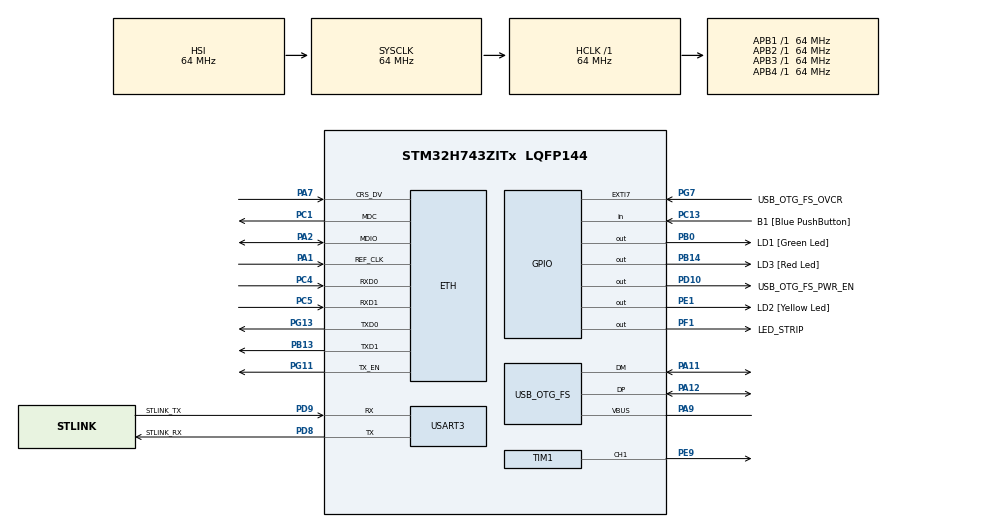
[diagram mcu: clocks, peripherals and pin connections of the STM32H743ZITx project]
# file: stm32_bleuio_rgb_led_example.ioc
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Dma.Request0=TIM1_CH1
Dma.TIM1_CH1.0.Direction=DMA_MEMORY_TO_PERIPH
Dma.TIM1_CH1.0.EventEnable=DISABLE
Dma.TIM1_CH1.0.FIFOMode=DMA_FIFOMODE_DISABLE
Dma.TIM1_CH1.0.Instance=DMA1_Stream1
Dma.TIM1_CH1.0.MemDataAlignment=DMA_MDATAALIGN_HALFWORD
Dma.TIM1_CH1.0.MemInc=DMA_MINC_ENABLE
Dma.TIM1_CH1.0.Mode=DMA_NORMAL
Dma.TIM1_CH1.0.PeriphDataAlignment=DMA_PDATAALIGN_HALFWORD
Dma.TIM1_CH1.0.PeriphInc=DMA_PINC_DISABLE
Dma.TIM1_CH1.0.Polarity=HAL_DMAMUX_REQ_GEN_RISING
Dma.TIM1_CH1.0.Priority=DMA_PRIORITY_LOW
Dma.TIM1_CH1.0.RequestNumber=1
Dma.TIM1_CH1.0.SignalID=NONE
Dma.TIM1_CH1.0.SyncEnable=DISABLE
Dma.TIM1_CH1.0.SyncPolarity=HAL_DMAMUX_SYNC_NO_EVENT
Dma.TIM1_CH1.0.SyncRequestNumber=1
Dma.TIM1_CH1.0.SyncSignalID=NONE
ETH.MediaInterface=HAL_ETH_RMII_MODE
Mcu.Family=STM32H7
Mcu.Name=STM32H743ZITx
Mcu.Package=LQFP144
NVIC.DMA1_Stream1_IRQn=true\:0\:0\:false\:false\:true\:false\:true
NVIC.OTG_FS_EP1_IN_IRQn=true\:0\:0\:false\:false\:true\:true\:true
NVIC.OTG_FS_EP1_OUT_IRQn=true\:0\:0\:false\:false\:true\:true\:true
NVIC.OTG_FS_IRQn=true\:0\:0\:false\:false\:true\:true\:true
NVIC.PriorityGroup=NVIC_PRIORITYGROUP_4
NVIC.USART3_IRQn=true\:0\:0\:false\:false\:true\:true\:true
PA1.Mode=RMII
PA1.Signal=ETH_REF_CLK
PA11.Mode=Host_Only
PA11.Signal=USB_OTG_FS_DM
PA12.Mode=Host_Only
PA12.Signal=USB_OTG_FS_DP
PA2.Mode=RMII
PA2.Signal=ETH_MDIO
PA7.Mode=RMII
PA7.Signal=ETH_CRS_DV
PA8.Signal=USB_OTG_FS_SOF
PA9.Mode=Activate_VBUS
PA9.Signal=USB_OTG_FS_VBUS
PB0.GPIO_Label=LD1 [Green Led]
PB0.Signal=GPIO_Output
PB13.Mode=RMII
PB13.Signal=ETH_TXD1
PB14.GPIO_Label=LD3 [Red Led]
PB14.Signal=GPIO_Output
PC1.Mode=RMII
PC1.Signal=ETH_MDC
PC13.GPIO_Label=B1 [Blue PushButton]
PC13.Signal=GPIO_Input
PC14-OSC32_IN\ (OSC32_IN).Mode=LSE-External-Oscillator
PC14-OSC32_IN\ (OSC32_IN).Signal=RCC_OSC32_IN
PC15-OSC32_OUT\ (OSC32_OUT).Mode=LSE-External-Oscillator
PC15-OSC32_OUT\ (OSC32_OUT).Signal=RCC_OSC32_OUT
PC4.Mode=RMII
PC4.Signal=ETH_RXD0
PC5.Mode=RMII
PC5.Signal=ETH_RXD1
PD10.GPIO_Label=USB_OTG_FS_PWR_EN
PD10.Signal=GPIO_Output
PD8.GPIO_Label=STLINK_RX
PD8.Mode=Asynchronous
PD8.Signal=USART3_TX
PD9.GPIO_Label=STLINK_TX
PD9.Mode=Asynchronous
PD9.Signal=USART3_RX
PE1.GPIO_Label=LD2 [Yellow Led]
PE1.Signal=GPIO_Output
PE9.Signal=S_TIM1_CH1
PF1.GPIO_Label=LED_STRIP
PF1.Signal=GPIO_Output
PG11.Mode=RMII
PG11.Signal=ETH_TX_EN
PG13.Mode=RMII
PG13.Signal=ETH_TXD0
PG7.GPIO_Label=USB_OTG_FS_OVCR
PG7.Signal=GPXTI7
PH0-OSC_IN\ (PH0).Mode=HSE-External-Clock-Source
PH0-OSC_IN\ (PH0).Signal=RCC_OSC_IN
PH1-OSC_OUT\ (PH1).Signal=RCC_OSC_OUT
ProjectManager.HeapSize=0x200
ProjectManager.StackSize=0x400
ProjectManager.TargetToolchain=STM32CubeIDE
RCC.ADCFreq_Value=16125000
RCC.APB1Freq_Value=64000000
RCC.APB2Freq_Value=64000000
RCC.APB3Freq_Value=64000000
RCC.APB4Freq_Value=64000000
RCC.CortexFreq_Value=64000000
RCC.DIVM1=1
RCC.DIVN1=24
RCC.DIVQ1=4
RCC.HCLKFreq_Value=64000000
RCC.HSE_VALUE=8000000
RCC.PLLFRACN=0
RCC.PWR_Regulator_Voltage_Scale=PWR_REGULATOR_VOLTAGE_SCALE2
RCC.SYSCLKFreq_VALUE=64000000
RCC.USBFreq_Value=48000000
SH.S_TIM1_CH1.0=TIM1_CH1,PWM Generation1 CH1
TIM1.Channel-PWM\ Generation1\ CH1=TIM_CHANNEL_1
TIM1.Period=64-1
USART3.VirtualMode-Asynchronous=VM_ASYNC
USB_HOST.BSP.number=1
USB_HOST.USBH_HandleTypeDef-CDC_FS=hUsbHostFS
USB_HOST.VirtualModeFS=Cdc
USB_HOST0.BSP.STBoard=false
USB_HOST0.BSP.api=Unknown
USB_HOST0.BSP.i2caddr=0
USB_HOST0.BSP.instance=PD10
USB_HOST0.BSP.ip=GPIO
USB_HOST0.BSP.mode=Output
USB_HOST0.BSP.name=Drive_VBUS_FS
USB_HOST0.BSP.solution=PD10
USB_OTG_FS.VirtualMode=Host_Only
USB_OTG_FS.phy_itface=HCD_PHY_EMBEDDED
VP_TIM1_VS_ClockSourceINT.Mode=Internal
VP_USB_HOST_VS_USB_HOST_CDC_FS.Mode=CDC_FS
board=NUCLEO-H743ZI2

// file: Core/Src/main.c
/* USER CODE BEGIN Header */
/**
  ******************************************************************************
  * @file           : main.c
  * @brief          : Main program body
  ******************************************************************************
  * @attention
  *
  * <h2><center>&copy; Copyright (c) 2021 STMicroelectronics.
  * All rights reserved.</center></h2>
  *
  * This software component is licensed by ST under BSD 3-Clause license,
  * the "License"; You may not use this file except in compliance with the
  * License. You may obtain a copy of the License at:
  *                        opensource.org/licenses/BSD-3-Clause
  *
  ******************************************************************************
  */
/* USER CODE END Header */
#include "main.h"
#include "string.h"
#include "usb_host.h"

/* USER CODE BEGIN PTD */
typedef enum {
  UART_RX_0 = 48,
  UART_RX_1,
  UART_RX_2,
  UART_RX_NONE = 0xFF,
}UARTCommandTypeDef;
/* USER CODE END PTD */

/* USER CODE BEGIN PD */
#define RXBUFFERSIZE                     1

#define BLEUIO_NOT_READY_MSG	"\r\nBleuIO not ready yet.\r\n"

// Dongle commands
#define DONGLE_CMD_ATI "ATI\r\n"
#define DONGLE_CMD_AT_ADVSTART "AT+ADVSTART\r\n"
#define DONGLE_CMD_AT_ADVSTOP "AT+ADVSTOP\r\n"
#define DONGLE_SEND_LED_ON "AT+SPSSEND=LED ON\r\n"
#define DONGLE_SEND_LED_OFF "AT+SPSSEND=LED OFF\r\n"
#define DONGLE_SEND_LED_RED "AT+SPSSEND=LED RED\r\n"
#define DONGLE_SEND_LED_GREEN "AT+SPSSEND=LED GREEN\r\n"
#define DONGLE_SEND_LED_BLUE "AT+SPSSEND=LED BLUE\r\n"
#define DONGLE_SEND_LED_RAINBOW "AT+SPSSEND=LED RAINBOW\r\n"

#define MAX_LED 8
#define USE_BRIGHTNESS 1

/* USER CODE END PD */

#if defined ( __ICCARM__ ) /*!< IAR Compiler */

#pragma location=0x30040000
ETH_DMADescTypeDef  DMARxDscrTab[ETH_RX_DESC_CNT]; /* Ethernet Rx DMA Descriptors */
#pragma location=0x30040060
ETH_DMADescTypeDef  DMATxDscrTab[ETH_TX_DESC_CNT]; /* Ethernet Tx DMA Descriptors */
#pragma location=0x30040200
uint8_t Rx_Buff[ETH_RX_DESC_CNT][ETH_MAX_PACKET_SIZE]; /* Ethernet Receive Buffers */

#elif defined ( __CC_ARM )  /* MDK ARM Compiler */

__attribute__((at(0x30040000))) ETH_DMADescTypeDef  DMARxDscrTab[ETH_RX_DESC_CNT]; /* Ethernet Rx DMA Descriptors */
__attribute__((at(0x30040060))) ETH_DMADescTypeDef  DMATxDscrTab[ETH_TX_DESC_CNT]; /* Ethernet Tx DMA Descriptors */
__attribute__((at(0x30040200))) uint8_t Rx_Buff[ETH_RX_DESC_CNT][ETH_MAX_PACKET_SIZE]; /* Ethernet Receive Buffer */

#elif defined ( __GNUC__ ) /* GNU Compiler */

ETH_DMADescTypeDef DMARxDscrTab[ETH_RX_DESC_CNT] __attribute__((section(".RxDecripSection"))); /* Ethernet Rx DMA Descriptors */
ETH_DMADescTypeDef DMATxDscrTab[ETH_TX_DESC_CNT] __attribute__((section(".TxDecripSection")));   /* Ethernet Tx DMA Descriptors */
uint8_t Rx_Buff[ETH_RX_DESC_CNT][ETH_MAX_PACKET_SIZE] __attribute__((section(".RxArraySection"))); /* Ethernet Receive Buffers */

#endif

ETH_TxPacketConfig TxConfig;

ETH_HandleTypeDef heth;

TIM_HandleTypeDef htim1;
DMA_HandleTypeDef hdma_tim1_ch1;

UART_HandleTypeDef huart3;

/* USER CODE BEGIN PV */
uint8_t LED_Data[MAX_LED][4];
uint8_t LED_Mod[MAX_LED][4];  // for brightness

uint16_t pwmData[(24*MAX_LED)+50];

volatile int datasentflag;

static char uart_tx_buf[250];
int uart_buf_len;
bool isBleuIOReady;
uint8_t dongle_response[244];
static UARTCommandTypeDef uartStatus;
static uint8_t aRxBuffer[RXBUFFERSIZE];
static int RX_value;

bool isAdvertising;
bool isLEDOn;
bool isConnected;
/* USER CODE END PV */

void SystemClock_Config(void);
static void MX_GPIO_Init(void);
static void MX_ETH_Init(void);
static void MX_USART3_UART_Init(void);
static void MX_DMA_Init(void);
static void MX_TIM1_Init(void);
void MX_USB_HOST_Process(void);

/* USER CODE BEGIN PFP */
void handleUartInput(UARTCommandTypeDef cmd);
void dongle_interpreter(uint8_t * input);
void Set_LED (int LEDnum, int Red, int Green, int Blue);
void Set_Brightness (int brightness);
void WS2812_Send (void);
/* USER CODE END PFP */

int main(void)
{

  /* MCU Configuration--------------------------------------------------------*/

  /* Reset of all peripherals, Initializes the Flash interface and the Systick. */
  HAL_Init();

  /* Configure the system clock */
  SystemClock_Config();

  /* Initialize all configured peripherals */
  MX_GPIO_Init();
  MX_ETH_Init();
  MX_USART3_UART_Init();
  MX_DMA_Init();
  MX_TIM1_Init();
  MX_USB_HOST_Init();
  /* USER CODE BEGIN 2 */
  isBleuIOReady = false;
  isAdvertising= false;
  isLEDOn= false;
  isConnected= false;
  uartStatus = UART_RX_NONE;

  // Starts uart recieve interrupt mode
  HAL_UART_Receive_IT(&huart3, (uint8_t *)aRxBuffer, RXBUFFERSIZE);

  // Turns on all LEDs on start up
  HAL_GPIO_WritePin(GPIOB, GPIO_PIN_0, GPIO_PIN_SET); // Green
  HAL_GPIO_WritePin(GPIOE, GPIO_PIN_1, GPIO_PIN_SET); // Yellow
  HAL_GPIO_WritePin(GPIOB, GPIO_PIN_14, GPIO_PIN_SET); // Red
  HAL_Delay(1000);

  // Turns off all LEDs except Red
  HAL_GPIO_WritePin(GPIOB, GPIO_PIN_0, GPIO_PIN_RESET);
  HAL_GPIO_WritePin(GPIOE, GPIO_PIN_1, GPIO_PIN_RESET);

  // Sends welcome message to uart
  uart_buf_len = sprintf(uart_tx_buf, "\r\nWelcome to STM32 BleuIO RGB LED Example!\r\nPress 0 to run the ATI command\r\nPress 1 to manually turn on LED\r\nPress 2 to manually turn off LED\r\n");
  HAL_UART_Transmit(&huart3, (uint8_t *)uart_tx_buf, uart_buf_len, HAL_MAX_DELAY);

  // Set LED Strip on and eight different colors (Rainbow Mode)
  Set_LED(0, 255, 0, 0);
  Set_LED(1, 0, 255, 0);
  Set_LED(2, 0, 0, 255);

  Set_LED(3, 46, 89, 128);

  Set_LED(4, 156, 233, 100);
  Set_LED(5, 102, 0, 235);
  Set_LED(6, 47, 38, 77);

  Set_LED(7, 255, 200, 0);
  Set_Brightness(40);
  WS2812_Send();

  /* USER CODE END 2 */

  /* Infinite loop */
  while (1)
  {
    MX_USB_HOST_Process();

    /* USER CODE BEGIN 3 */
    // Simple handler for uart input
    handleUartInput(uartStatus);
    // Inteprets the dongle data
    dongle_interpreter(dongle_response);

    // Starts advertising as soon as the Dongle is ready.
    if(!isAdvertising && !isConnected && isBleuIOReady)
    {
    	HAL_Delay(200);
		Set_Brightness(0);
		WS2812_Send();
    	writeToDongle((uint8_t*)DONGLE_CMD_AT_ADVSTART);
    	isAdvertising = true;
    }
  }
  /* USER CODE END 3 */
}

void SystemClock_Config(void)
{
  RCC_OscInitTypeDef RCC_OscInitStruct = {0};
  RCC_ClkInitTypeDef RCC_ClkInitStruct = {0};

  /** Supply configuration update enable
  */
  HAL_PWREx_ConfigSupply(PWR_LDO_SUPPLY);
  /** Configure the main internal regulator output voltage
  */
  __HAL_PWR_VOLTAGESCALING_CONFIG(PWR_REGULATOR_VOLTAGE_SCALE2);

  while(!__HAL_PWR_GET_FLAG(PWR_FLAG_VOSRDY)) {}
  /** Initializes the RCC Oscillators according to the specified parameters
  * in the RCC_OscInitTypeDef structure.
  */
  RCC_OscInitStruct.OscillatorType = RCC_OSCILLATORTYPE_HSI|RCC_OSCILLATORTYPE_HSE;
  RCC_OscInitStruct.HSEState = RCC_HSE_BYPASS;
  RCC_OscInitStruct.HSIState = RCC_HSI_DIV1;
  RCC_OscInitStruct.HSICalibrationValue = RCC_HSICALIBRATION_DEFAULT;
  RCC_OscInitStruct.PLL.PLLState = RCC_PLL_ON;
  RCC_OscInitStruct.PLL.PLLSource = RCC_PLLSOURCE_HSE;
  RCC_OscInitStruct.PLL.PLLM = 1;
  RCC_OscInitStruct.PLL.PLLN = 24;
  RCC_OscInitStruct.PLL.PLLP = 2;
  RCC_OscInitStruct.PLL.PLLQ = 4;
  RCC_OscInitStruct.PLL.PLLR = 2;
  RCC_OscInitStruct.PLL.PLLRGE = RCC_PLL1VCIRANGE_3;
  RCC_OscInitStruct.PLL.PLLVCOSEL = RCC_PLL1VCOWIDE;
  RCC_OscInitStruct.PLL.PLLFRACN = 0;
  if (HAL_RCC_OscConfig(&RCC_OscInitStruct) != HAL_OK)
  {
    Error_Handler();
  }
  /** Initializes the CPU, AHB and APB buses clocks
  */
  RCC_ClkInitStruct.ClockType = RCC_CLOCKTYPE_HCLK|RCC_CLOCKTYPE_SYSCLK
                              |RCC_CLOCKTYPE_PCLK1|RCC_CLOCKTYPE_PCLK2
                              |RCC_CLOCKTYPE_D3PCLK1|RCC_CLOCKTYPE_D1PCLK1;
  RCC_ClkInitStruct.SYSCLKSource = RCC_SYSCLKSOURCE_HSI;
  RCC_ClkInitStruct.SYSCLKDivider = RCC_SYSCLK_DIV1;
  RCC_ClkInitStruct.AHBCLKDivider = RCC_HCLK_DIV1;
  RCC_ClkInitStruct.APB3CLKDivider = RCC_APB3_DIV1;
  RCC_ClkInitStruct.APB1CLKDivider = RCC_APB1_DIV1;
  RCC_ClkInitStruct.APB2CLKDivider = RCC_APB2_DIV1;
  RCC_ClkInitStruct.APB4CLKDivider = RCC_APB4_DIV1;

  if (HAL_RCC_ClockConfig(&RCC_ClkInitStruct, FLASH_LATENCY_1) != HAL_OK)
  {
    Error_Handler();
  }
}

static void MX_ETH_Init(void)
{

   static uint8_t MACAddr[6];

  heth.Instance = ETH;
  MACAddr[0] = 0x00;
  MACAddr[1] = 0x80;
  MACAddr[2] = 0xE1;
  MACAddr[3] = 0x00;
  MACAddr[4] = 0x00;
  MACAddr[5] = 0x00;
  heth.Init.MACAddr = &MACAddr[0];
  heth.Init.MediaInterface = HAL_ETH_RMII_MODE;
  heth.Init.TxDesc = DMATxDscrTab;
  heth.Init.RxDesc = DMARxDscrTab;
  heth.Init.RxBuffLen = 1524;

  if (HAL_ETH_Init(&heth) != HAL_OK)
  {
    Error_Handler();
  }

  memset(&TxConfig, 0 , sizeof(ETH_TxPacketConfig));
  TxConfig.Attributes = ETH_TX_PACKETS_FEATURES_CSUM | ETH_TX_PACKETS_FEATURES_CRCPAD;
  TxConfig.ChecksumCtrl = ETH_CHECKSUM_IPHDR_PAYLOAD_INSERT_PHDR_CALC;
  TxConfig.CRCPadCtrl = ETH_CRC_PAD_INSERT;

}

static void MX_TIM1_Init(void)
{

  TIM_ClockConfigTypeDef sClockSourceConfig = {0};
  TIM_MasterConfigTypeDef sMasterConfig = {0};
  TIM_OC_InitTypeDef sConfigOC = {0};
  TIM_BreakDeadTimeConfigTypeDef sBreakDeadTimeConfig = {0};

  htim1.Instance = TIM1;
  htim1.Init.Prescaler = 0;
  htim1.Init.CounterMode = TIM_COUNTERMODE_UP;
  htim1.Init.Period = 64-1;
  htim1.Init.ClockDivision = TIM_CLOCKDIVISION_DIV1;
  htim1.Init.RepetitionCounter = 0;
  htim1.Init.AutoReloadPreload = TIM_AUTORELOAD_PRELOAD_DISABLE;
  if (HAL_TIM_Base_Init(&htim1) != HAL_OK)
  {
    Error_Handler();
  }
  sClockSourceConfig.ClockSource = TIM_CLOCKSOURCE_INTERNAL;
  if (HAL_TIM_ConfigClockSource(&htim1, &sClockSourceConfig) != HAL_OK)
  {
    Error_Handler();
  }
  if (HAL_TIM_PWM_Init(&htim1) != HAL_OK)
  {
    Error_Handler();
  }
  sMasterConfig.MasterOutputTrigger = TIM_TRGO_RESET;
  sMasterConfig.MasterOutputTrigger2 = TIM_TRGO2_RESET;
  sMasterConfig.MasterSlaveMode = TIM_MASTERSLAVEMODE_DISABLE;
  if (HAL_TIMEx_MasterConfigSynchronization(&htim1, &sMasterConfig) != HAL_OK)
  {
    Error_Handler();
  }
  sConfigOC.OCMode = TIM_OCMODE_PWM1;
  sConfigOC.Pulse = 0;
  sConfigOC.OCPolarity = TIM_OCPOLARITY_HIGH;
  sConfigOC.OCNPolarity = TIM_OCNPOLARITY_HIGH;
  sConfigOC.OCFastMode = TIM_OCFAST_DISABLE;
  sConfigOC.OCIdleState = TIM_OCIDLESTATE_RESET;
  sConfigOC.OCNIdleState = TIM_OCNIDLESTATE_RESET;
  if (HAL_TIM_PWM_ConfigChannel(&htim1, &sConfigOC, TIM_CHANNEL_1) != HAL_OK)
  {
    Error_Handler();
  }
  sBreakDeadTimeConfig.OffStateRunMode = TIM_OSSR_DISABLE;
  sBreakDeadTimeConfig.OffStateIDLEMode = TIM_OSSI_DISABLE;
  sBreakDeadTimeConfig.LockLevel = TIM_LOCKLEVEL_OFF;
  sBreakDeadTimeConfig.DeadTime = 0;
  sBreakDeadTimeConfig.BreakState = TIM_BREAK_DISABLE;
  sBreakDeadTimeConfig.BreakPolarity = TIM_BREAKPOLARITY_HIGH;
  sBreakDeadTimeConfig.BreakFilter = 0;
  sBreakDeadTimeConfig.Break2State = TIM_BREAK2_DISABLE;
  sBreakDeadTimeConfig.Break2Polarity = TIM_BREAK2POLARITY_HIGH;
  sBreakDeadTimeConfig.Break2Filter = 0;
  sBreakDeadTimeConfig.AutomaticOutput = TIM_AUTOMATICOUTPUT_DISABLE;
  if (HAL_TIMEx_ConfigBreakDeadTime(&htim1, &sBreakDeadTimeConfig) != HAL_OK)
  {
    Error_Handler();
  }
  HAL_TIM_MspPostInit(&htim1);

}

static void MX_USART3_UART_Init(void)
{

  huart3.Instance = USART3;
  huart3.Init.BaudRate = 115200;
  huart3.Init.WordLength = UART_WORDLENGTH_8B;
  huart3.Init.StopBits = UART_STOPBITS_1;
  huart3.Init.Parity = UART_PARITY_NONE;
  huart3.Init.Mode = UART_MODE_TX_RX;
  huart3.Init.HwFlowCtl = UART_HWCONTROL_NONE;
  huart3.Init.OverSampling = UART_OVERSAMPLING_16;
  huart3.Init.OneBitSampling = UART_ONE_BIT_SAMPLE_DISABLE;
  huart3.Init.ClockPrescaler = UART_PRESCALER_DIV1;
  huart3.AdvancedInit.AdvFeatureInit = UART_ADVFEATURE_NO_INIT;
  if (HAL_UART_Init(&huart3) != HAL_OK)
  {
    Error_Handler();
  }
  if (HAL_UARTEx_SetTxFifoThreshold(&huart3, UART_TXFIFO_THRESHOLD_1_8) != HAL_OK)
  {
    Error_Handler();
  }
  if (HAL_UARTEx_SetRxFifoThreshold(&huart3, UART_RXFIFO_THRESHOLD_1_8) != HAL_OK)
  {
    Error_Handler();
  }
  if (HAL_UARTEx_DisableFifoMode(&huart3) != HAL_OK)
  {
    Error_Handler();
  }

}

static void MX_DMA_Init(void)
{

  /* DMA controller clock enable */
  __HAL_RCC_DMA1_CLK_ENABLE();

  /* DMA interrupt init */
  /* DMA1_Stream1_IRQn interrupt configuration */
  HAL_NVIC_SetPriority(DMA1_Stream1_IRQn, 0, 0);
  HAL_NVIC_EnableIRQ(DMA1_Stream1_IRQn);

}

static void MX_GPIO_Init(void)
{
  GPIO_InitTypeDef GPIO_InitStruct = {0};

  /* GPIO Ports Clock Enable */
  __HAL_RCC_GPIOC_CLK_ENABLE();
  __HAL_RCC_GPIOF_CLK_ENABLE();
  __HAL_RCC_GPIOH_CLK_ENABLE();
  __HAL_RCC_GPIOA_CLK_ENABLE();
  __HAL_RCC_GPIOB_CLK_ENABLE();
  __HAL_RCC_GPIOE_CLK_ENABLE();
  __HAL_RCC_GPIOD_CLK_ENABLE();
  __HAL_RCC_GPIOG_CLK_ENABLE();

  /*Configure GPIO pin Output Level */
  HAL_GPIO_WritePin(LED_STRIP_GPIO_Port, LED_STRIP_Pin, GPIO_PIN_RESET);

  /*Configure GPIO pin Output Level */
  HAL_GPIO_WritePin(GPIOB, LD1_Pin|LD3_Pin, GPIO_PIN_RESET);

  /*Configure GPIO pin Output Level */
  HAL_GPIO_WritePin(USB_OTG_FS_PWR_EN_GPIO_Port, USB_OTG_FS_PWR_EN_Pin, GPIO_PIN_RESET);

  /*Configure GPIO pin Output Level */
  HAL_GPIO_WritePin(LD2_GPIO_Port, LD2_Pin, GPIO_PIN_RESET);

  /*Configure GPIO pin : B1_Pin */
  GPIO_InitStruct.Pin = B1_Pin;
  GPIO_InitStruct.Mode = GPIO_MODE_INPUT;
  GPIO_InitStruct.Pull = GPIO_NOPULL;
  HAL_GPIO_Init(B1_GPIO_Port, &GPIO_InitStruct);

  /*Configure GPIO pin : LED_STRIP_Pin */
  GPIO_InitStruct.Pin = LED_STRIP_Pin;
  GPIO_InitStruct.Mode = GPIO_MODE_OUTPUT_PP;
  GPIO_InitStruct.Pull = GPIO_NOPULL;
  GPIO_InitStruct.Speed = GPIO_SPEED_FREQ_LOW;
  HAL_GPIO_Init(LED_STRIP_GPIO_Port, &GPIO_InitStruct);

  /*Configure GPIO pins : LD1_Pin LD3_Pin */
  GPIO_InitStruct.Pin = LD1_Pin|LD3_Pin;
  GPIO_InitStruct.Mode = GPIO_MODE_OUTPUT_PP;
  GPIO_InitStruct.Pull = GPIO_NOPULL;
  GPIO_InitStruct.Speed = GPIO_SPEED_FREQ_LOW;
  HAL_GPIO_Init(GPIOB, &GPIO_InitStruct);

  /*Configure GPIO pin : USB_OTG_FS_PWR_EN_Pin */
  GPIO_InitStruct.Pin = USB_OTG_FS_PWR_EN_Pin;
  GPIO_InitStruct.Mode = GPIO_MODE_OUTPUT_PP;
  GPIO_InitStruct.Pull = GPIO_NOPULL;
  GPIO_InitStruct.Speed = GPIO_SPEED_FREQ_LOW;
  HAL_GPIO_Init(USB_OTG_FS_PWR_EN_GPIO_Port, &GPIO_InitStruct);

  /*Configure GPIO pin : USB_OTG_FS_OVCR_Pin */
  GPIO_InitStruct.Pin = USB_OTG_FS_OVCR_Pin;
  GPIO_InitStruct.Mode = GPIO_MODE_IT_RISING;
  GPIO_InitStruct.Pull = GPIO_NOPULL;
  HAL_GPIO_Init(USB_OTG_FS_OVCR_GPIO_Port, &GPIO_InitStruct);

  /*Configure GPIO pin : LD2_Pin */
  GPIO_InitStruct.Pin = LD2_Pin;
  GPIO_InitStruct.Mode = GPIO_MODE_OUTPUT_PP;
  GPIO_InitStruct.Pull = GPIO_NOPULL;
  GPIO_InitStruct.Speed = GPIO_SPEED_FREQ_LOW;
  HAL_GPIO_Init(LD2_GPIO_Port, &GPIO_InitStruct);

}

/* USER CODE BEGIN 4 */
void HAL_UART_RxCpltCallback(UART_HandleTypeDef *UartHandle)
{
	if(UartHandle == &huart3)
	{
		RX_value = (int)aRxBuffer[0];
		uartStatus = UART_RX_NONE;

		switch(RX_value)
		{
			case UART_RX_0:
			{
				uartStatus = UART_RX_0;
				break;
			}
			case UART_RX_1:
			{
				uartStatus = UART_RX_1;
				break;
			}
			case UART_RX_2:
			{
				uartStatus = UART_RX_2;
				break;
			}
			default:
			{
				uartStatus = UART_RX_NONE;
				break;
			}
		}
		// Resets uart recieve interrupt mode
		HAL_UART_Receive_IT(&huart3, (uint8_t *)aRxBuffer, RXBUFFERSIZE);
	}
}

void HAL_TIM_PWM_PulseFinishedCallback(TIM_HandleTypeDef *htim)
{
	HAL_TIM_PWM_Stop_DMA(&htim1, TIM_CHANNEL_1);
	datasentflag=1;
}

/**
  * @brief Simple uart input handler
  * @retval None
  */
void handleUartInput(UARTCommandTypeDef cmd)
{
	switch(cmd)
	{
		case UART_RX_0:
		{
			// 0
			uart_buf_len = sprintf(uart_tx_buf, "\r\n(0 pressed)\r\n");
			HAL_UART_Transmit(&huart3, (uint8_t *)uart_tx_buf, uart_buf_len, HAL_MAX_DELAY);
			if(isBleuIOReady)
			{
				writeToDongle((uint8_t*)DONGLE_CMD_ATI);
			} else
			{
				uart_buf_len = sprintf(uart_tx_buf, BLEUIO_NOT_READY_MSG);
				HAL_UART_Transmit(&huart3, (uint8_t *)uart_tx_buf, uart_buf_len, HAL_MAX_DELAY);
			}
			uartStatus = UART_RX_NONE;
			break;
		}
		case UART_RX_1:
		{
			// 1
			uart_buf_len = sprintf(uart_tx_buf, "\r\n(1 pressed LED on!)\r\n");
			HAL_UART_Transmit(&huart3, (uint8_t *)uart_tx_buf, uart_buf_len, HAL_MAX_DELAY);
			  Set_Brightness(40);
			  WS2812_Send();
			uartStatus = UART_RX_NONE;
			break;
		}
		case UART_RX_2:
		{
			// 2
			uart_buf_len = sprintf(uart_tx_buf, "\r\n(2 pressed LED off!)\r\n");
			HAL_UART_Transmit(&huart3, (uint8_t *)uart_tx_buf, uart_buf_len, HAL_MAX_DELAY);
			  Set_Brightness(0);
			  WS2812_Send();

			uartStatus = UART_RX_NONE;
			break;
		}
		case UART_RX_NONE:
		{
			break;
		}
		default:
		{
			uartStatus = UART_RX_NONE;
			break;
		}
	}
}

/**
  * @brief Simple dongle interpreter
  * @retval None
  */
void dongle_interpreter(uint8_t * input)
{

	if(strlen((char *)input) != 0)
	{
		if(strstr((char *)input, "\r\nADVERTISING...") != NULL)
		{
			isAdvertising = true;
		}
		if(strstr((char *)input, "\r\nADVERTISING STOPPED.") != NULL)
		{
			isAdvertising = false;
		}
		if(strstr((char *)input, "\r\nCONNECTED") != NULL)
		{
			isConnected = true;
			HAL_GPIO_WritePin(GPIOE, GPIO_PIN_1, GPIO_PIN_SET);
		}
		if(strstr((char *)input, "\r\nDISCONNECTED") != NULL)
		{
			isConnected = false;
			HAL_GPIO_WritePin(GPIOE, GPIO_PIN_1, GPIO_PIN_RESET);
		}
		if(strstr((char *)input, "L=0") != NULL)
		{
			isLEDOn = false;

			Set_Brightness(0);
			WS2812_Send();
			writeToDongle((uint8_t*)DONGLE_SEND_LED_OFF);

			uart_buf_len = sprintf(uart_tx_buf, "\r\nLED is %s\r\n", isLEDOn ? "on":"off");
			HAL_UART_Transmit(&huart3, (uint8_t *)uart_tx_buf, uart_buf_len, HAL_MAX_DELAY);
		}
		if(strstr((char *)input, "L=1") != NULL)
		{
			isLEDOn = true;

			Set_Brightness(40);
			WS2812_Send();
			writeToDongle((uint8_t*)DONGLE_SEND_LED_ON);

			uart_buf_len = sprintf(uart_tx_buf, "\r\nLED is %s\r\n", isLEDOn ? "on":"off");
			HAL_UART_Transmit(&huart3, (uint8_t *)uart_tx_buf, uart_buf_len, HAL_MAX_DELAY);
		}
		if(strstr((char *)input, "L=RED") != NULL)
		{

			// Set LEDs to rainbow colors
			Set_LED(0, 255, 0, 0);
			Set_LED(1, 255, 0, 0);
			Set_LED(2, 255, 0, 0);
			Set_LED(3, 255, 0, 0);
			Set_LED(4, 255, 0, 0);
			Set_LED(5, 255, 0, 0);
			Set_LED(6, 255, 0, 0);
			Set_LED(7, 255, 0, 0);

			if(isLEDOn)
			{
				Set_Brightness(40);
			}

			WS2812_Send();
			writeToDongle((uint8_t*)DONGLE_SEND_LED_RED);

			uart_buf_len = sprintf(uart_tx_buf, "\r\nLED is %s\r\n", isLEDOn ? "on":"off");
			HAL_UART_Transmit(&huart3, (uint8_t *)uart_tx_buf, uart_buf_len, HAL_MAX_DELAY);
		}
		if(strstr((char *)input, "L=GREEN") != NULL)
		{

			// Set LEDs to rainbow colors
			Set_LED(0,  0, 255, 0);
			Set_LED(1,  0, 255, 0);
			Set_LED(2,  0, 255, 0);
			Set_LED(3,  0, 255, 0);
			Set_LED(4,  0, 255, 0);
			Set_LED(5,  0, 255, 0);
			Set_LED(6,  0, 255, 0);
			Set_LED(7,  0, 255, 0);

			if(isLEDOn)
			{
				Set_Brightness(40);
			}

			WS2812_Send();
			writeToDongle((uint8_t*)DONGLE_SEND_LED_GREEN);

			uart_buf_len = sprintf(uart_tx_buf, "\r\nLED is %s\r\n", isLEDOn ? "on":"off");
			HAL_UART_Transmit(&huart3, (uint8_t *)uart_tx_buf, uart_buf_len, HAL_MAX_DELAY);
		}
		if(strstr((char *)input, "L=BLUE") != NULL)
		{

			// Set LEDs to rainbow colors
			Set_LED(0, 0, 0, 255);
			Set_LED(1, 0, 0, 255);
			Set_LED(2, 0, 0, 255);
			Set_LED(3, 0, 0, 255);
			Set_LED(4, 0, 0, 255);
			Set_LED(5, 0, 0, 255);
			Set_LED(6, 0, 0, 255);
			Set_LED(7, 0, 0, 255);

			if(isLEDOn)
			{
				Set_Brightness(40);
			}

			WS2812_Send();
			writeToDongle((uint8_t*)DONGLE_SEND_LED_BLUE);

			uart_buf_len = sprintf(uart_tx_buf, "\r\nLED is %s\r\n", isLEDOn ? "on":"off");
			HAL_UART_Transmit(&huart3, (uint8_t *)uart_tx_buf, uart_buf_len, HAL_MAX_DELAY);
		}
		if(strstr((char *)input, "L=RAINBOW") != NULL)
		{

			// Set LEDs to rainbow colors
			Set_LED(0, 255, 0, 0);
			Set_LED(1, 0, 255, 0);
			Set_LED(2, 0, 0, 255);
			Set_LED(3, 46, 89, 128);
			Set_LED(4, 156, 233, 100);
			Set_LED(5, 102, 0, 235);
			Set_LED(6, 47, 38, 77);
			Set_LED(7, 255, 200, 0);

			if(isLEDOn)
			{
				Set_Brightness(40);
			}

			WS2812_Send();
			writeToDongle((uint8_t*)DONGLE_SEND_LED_RAINBOW);

			uart_buf_len = sprintf(uart_tx_buf, "\r\nLED is %s\r\n", isLEDOn ? "on":"off");
			HAL_UART_Transmit(&huart3, (uint8_t *)uart_tx_buf, uart_buf_len, HAL_MAX_DELAY);
		}
	}
	memset(&dongle_response, 0, RSP_SIZE);
}

void Set_LED (int LEDnum, int Red, int Green, int Blue)
{
	LED_Data[LEDnum][0] = LEDnum;
	LED_Data[LEDnum][1] = Green;
	LED_Data[LEDnum][2] = Red;
	LED_Data[LEDnum][3] = Blue;
}

#define PI 3.14159265

void Set_Brightness (int brightness)  // 0-45
{
#if USE_BRIGHTNESS

	if (brightness > 45) brightness = 45;
	for (int i=0; i<MAX_LED; i++)
	{
		LED_Mod[i][0] = LED_Data[i][0];
		for (int j=1; j<4; j++)
		{
			float angle = 90-brightness;  // in degrees
			angle = angle*PI / 180;  // in rad
			LED_Mod[i][j] = (LED_Data[i][j])/(tan(angle));
		}
	}

#endif

}

void WS2812_Send (void)
{
	uint32_t indx=0;
	uint32_t color;

	for (int i= 0; i<MAX_LED; i++)
	{
#if USE_BRIGHTNESS
		color = ((LED_Mod[i][1]<<16) | (LED_Mod[i][2]<<8) | (LED_Mod[i][3]));
#else
		color = ((LED_Data[i][1]<<16) | (LED_Data[i][2]<<8) | (LED_Data[i][3]));
#endif

		for (int i=23; i>=0; i--)
		{
			if (color&(1<<i))
			{
				pwmData[indx] = 60;  // 2/3 of 90
			}

			else pwmData[indx] = 30;  // 1/3 of 90

			indx++;
		}

	}

	for (int i=0; i<50; i++)
	{
		pwmData[indx] = 0;
		indx++;
	}

	HAL_TIM_PWM_Start_DMA(&htim1, TIM_CHANNEL_1, (uint32_t *)pwmData, indx);
	while (!datasentflag){};
	datasentflag = 0;
}
/* USER CODE END 4 */

void Error_Handler(void)
{
  __disable_irq();
  while (1)
  {
  }
}

/************************ (C) COPYRIGHT STMicroelectronics *****END OF FILE****/
